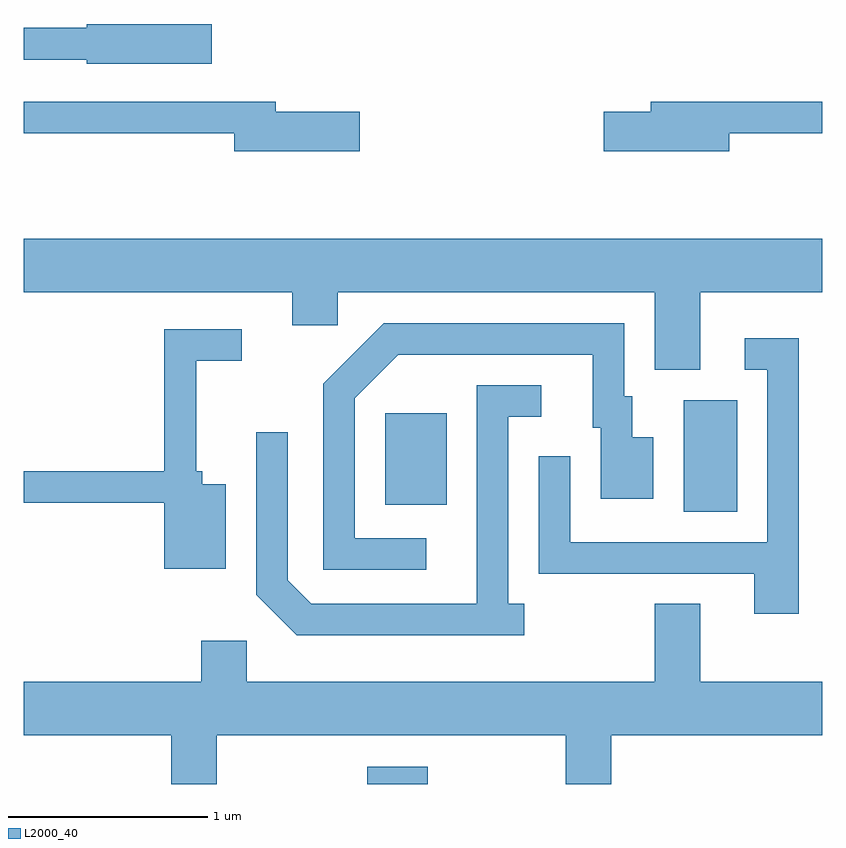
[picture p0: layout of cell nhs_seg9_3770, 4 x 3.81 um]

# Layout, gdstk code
import gdstk
lib = gdstk.Library(unit=1e-6, precision=1e-09)
def R(c, l, rs):  # rectangles x0, y0, x1, y1
    for r in rs: c.add(gdstk.rectangle(r[:2], r[2:], *l))
def P(c, l, *ps):  # polygons
    for p in ps: c.add(gdstk.Polygon(p, *l))
L2000_40 = (2000, 40)

nhs_seg9_3770 = lib.new_cell('nhs_seg9_3770')
R(nhs_seg9_3770, L2000_40, [(297.331,2020.432,297.634,2020.519), (298.916,2021.796,299.184,2022.354), (297.421,2021.831,297.729,2022.289)])
P(nhs_seg9_3770, L2000_40, [(296.554,2024.239),(295.926,2024.239),(295.926,2024.219),(295.611,2024.219),(295.611,2024.061),(295.926,2024.061),(295.926,2024.041),(296.554,2024.041)],
  [(299.144,2023.691),(299.611,2023.691),(299.611,2023.849),(298.751,2023.849),(298.751,2023.799),(298.516,2023.799),(298.516,2023.601),(299.144,2023.601)],
  [(297.294,2023.799),(296.874,2023.799),(296.874,2023.849),(295.611,2023.849),(295.611,2023.691),(296.666,2023.691),(296.666,2023.601),(297.294,2023.601)],
  [(298.999,2022.896),(299.611,2022.896),(299.611,2023.164),(295.611,2023.164),(295.611,2022.896),(296.956,2022.896),(296.956,2022.731),(297.184,2022.731),(297.184,2022.896),(298.771,2022.896),(298.771,2022.506),(298.999,2022.506)],
  [(297.628,2021.664),(297.269,2021.664),(297.269,2022.364),(297.487,2022.581),(298.461,2022.581),(298.461,2022.216),(298.501,2022.216),(298.501,2021.861),(298.764,2021.861),(298.764,2022.169),(298.659,2022.169),(298.659,2022.374),(298.619,2022.374),(298.619,2022.739),(297.414,2022.739),(297.111,2022.437),(297.111,2021.506),(297.628,2021.506)],
  [(296.624,2021.934),(296.504,2021.934),(296.504,2021.999),(296.474,2021.999),(296.474,2022.551),(296.703,2022.551),(296.703,2022.709),(296.316,2022.709),(296.316,2021.999),(295.611,2021.999),(295.611,2021.841),(296.316,2021.841),(296.316,2021.511),(296.624,2021.511)],
  [(299.494,2022.664),(299.223,2022.664),(299.223,2022.506),(299.336,2022.506),(299.336,2021.644),(298.349,2021.644),(298.349,2022.073),(298.191,2022.073),(298.191,2021.486),(299.271,2021.486),(299.271,2021.286),(299.494,2021.286)],
  [(298.118,2021.334),(298.039,2021.334),(298.039,2022.271),(298.203,2022.271),(298.203,2022.429),(297.881,2022.429),(297.881,2021.334),(297.052,2021.334),(296.934,2021.452),(296.934,2022.193),(296.776,2022.193),(296.776,2021.379),(296.979,2021.176),(298.118,2021.176)],
  [(296.579,2020.676),(298.326,2020.676),(298.326,2020.432),(298.554,2020.432),(298.554,2020.676),(299.611,2020.676),(299.611,2020.944),(298.999,2020.944),(298.999,2021.334),(298.771,2021.334),(298.771,2020.944),(296.729,2020.944),(296.729,2021.149),(296.501,2021.149),(296.501,2020.944),(295.611,2020.944),(295.611,2020.676),(296.351,2020.676),(296.351,2020.432),(296.579,2020.432)])

lib.write_gds('nhs_seg9_3770.gds')
